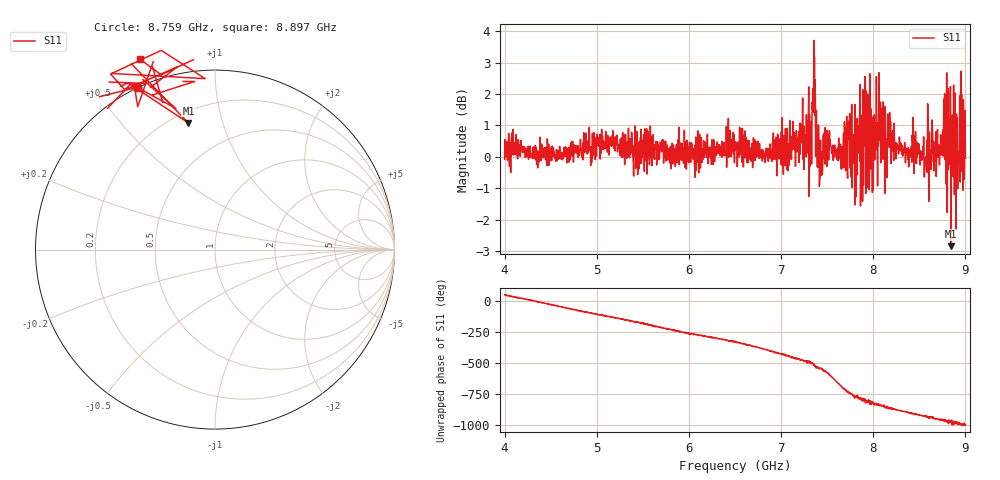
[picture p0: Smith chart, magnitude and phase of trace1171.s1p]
! Created with skrf 1.8.0 (http://scikit-rf.org).
# Hz S RI R 50.0
!freq ReS11 ImS11
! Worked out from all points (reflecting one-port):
!   1601 points, 4 GHz to 9 GHz, reference 50 ohm
!   lowest |S11| = -2.8 dB at 8.844 GHz (marker M1), VSWR 6.17, Z = 13.2 + j38.8 ohm
!   phase of S11 starts at 54 deg and turns -1053 deg over the sweep
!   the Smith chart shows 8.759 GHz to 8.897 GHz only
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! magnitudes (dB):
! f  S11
! 4 GHz  -0.1
! 4.625 GHz  -0.1
! 5.25 GHz  0.0
! 5.875 GHz  0.0
! 6.5 GHz  0.5
! 6.838 GHz  0.3
! 7.125 GHz  0.2
! 7.306 GHz  1.1
! 7.359 GHz  1.8
! 7.4 GHz  -0.3
! 7.438 GHz  -0.6
! 7.525 GHz  0.8
! 7.659 GHz  0.3
! 7.75 GHz  -0.4
! 7.797 GHz  0.7
! 7.891 GHz  0.9
! 8 GHz  -1.1
! 8.056 GHz  0.3
! 8.375 GHz  0.1
! 8.434 GHz  0.1
! 8.578 GHz  -0.4
! 8.631 GHz  0.2
! 8.725 GHz  0.3
! 8.772 GHz  0.0
! 8.844 GHz  -2.8
! 8.919 GHz  -0.1
! 8.959 GHz  2.0
! 9 GHz  0.0
